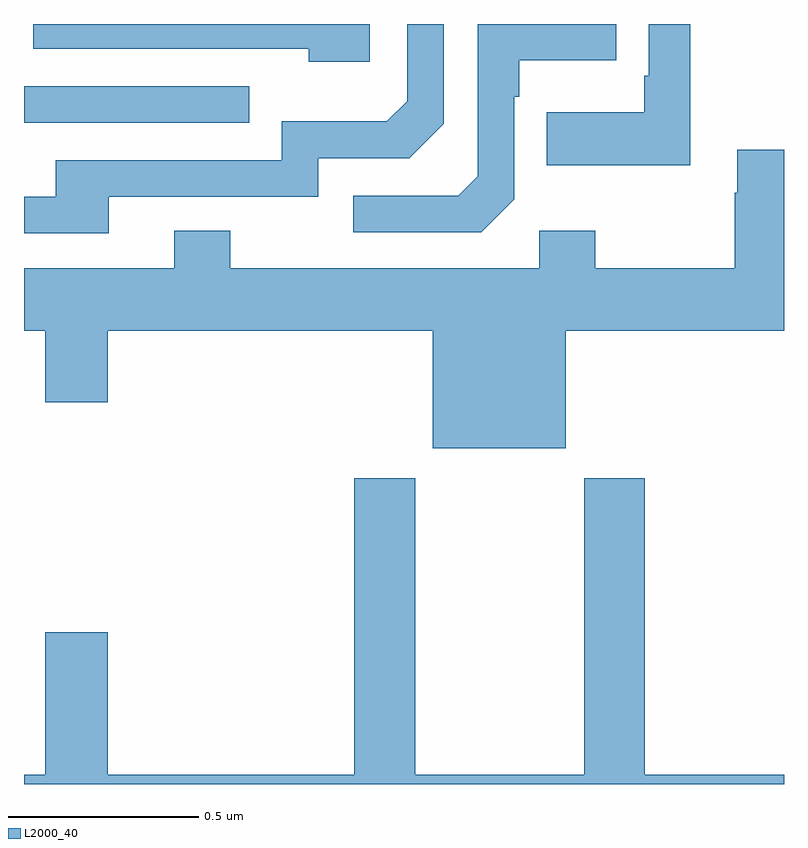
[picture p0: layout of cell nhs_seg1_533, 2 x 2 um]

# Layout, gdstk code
import gdstk
lib = gdstk.Library(unit=1e-6, precision=1e-09)
def R(c, l, rs):  # rectangles x0, y0, x1, y1
    for r in rs: c.add(gdstk.rectangle(r[:2], r[2:], *l))
def P(c, l, *ps):  # polygons
    for p in ps: c.add(gdstk.Polygon(p, *l))
L2000_40 = (2000, 40)

nhs_seg1_533 = lib.new_cell('nhs_seg1_533')
R(nhs_seg1_533, L2000_40, [(117,558.939,117.593,559.035)])
P(nhs_seg1_533, L2000_40, [(118.29,558.738),(118.29,559.007),(118.303,559.007),(118.303,559.103),(118.559,559.103),(118.559,559.199),(118.194,559.199),(118.194,558.798),(118.143,558.747),(117.867,558.747),(117.867,558.651),(118.203,558.651)],
  [(117.91,559.199),(117.024,559.199),(117.024,559.134),(117.749,559.134),(117.749,559.1),(117.91,559.1)],
  [(117.223,558.744),(117.774,558.744),(117.774,558.846),(118.014,558.846),(118.104,558.936),(118.104,559.199),(118.008,559.199),(118.008,558.996),(117.955,558.943),(117.678,558.943),(117.678,558.84),(117.083,558.84),(117.083,558.744),(117,558.744),(117,558.648),(117.223,558.648)],
  [(118.753,559.199),(118.644,559.199),(118.644,559.063),(118.632,559.063),(118.632,558.967),(118.375,558.967),(118.375,558.827),(118.753,558.827)],
  [(118.426,558.392),(119,558.392),(119,558.868),(118.877,558.868),(118.877,558.755),(118.87,558.755),(118.87,558.556),(118.503,558.556),(118.503,558.655),(118.356,558.655),(118.356,558.556),(117.543,558.556),(117.543,558.655),(117.395,558.655),(117.395,558.556),(117,558.556),(117,558.392),(117.056,558.392),(117.056,558.204),(117.22,558.204),(117.22,558.392),(118.076,558.392),(118.076,558.083),(118.426,558.083)],
  [(119,557.224),(118.634,557.224),(118.634,558.004),(118.474,558.004),(118.474,557.224),(118.029,557.224),(118.029,558.004),(117.869,558.004),(117.869,557.224),(117.22,557.224),(117.22,557.599),(117.056,557.599),(117.056,557.224),(117,557.224),(117,557.199),(119,557.199)])

lib.write_gds('nhs_seg1_533.gds')
